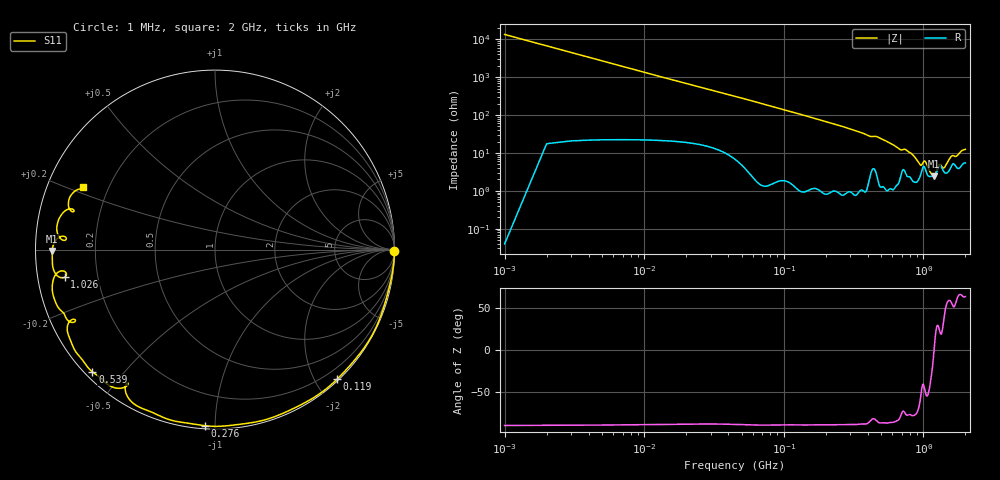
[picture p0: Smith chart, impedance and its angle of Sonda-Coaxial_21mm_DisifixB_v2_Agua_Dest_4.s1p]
! TOUCHSTONE file generated by CST MICROWAVE STUDIO
! Date and time: Tue Aug  4 15:55:27 2026
! Project name: Sonda-Coaxial_21mm_DisifixB_v2_Agua_Dest.cst
! Parameters = {h_recipiente=20; l_conector=5; r_arandela=35; r_ext=10.5; r_int=3; r_recipiente=50; z_recipiente=-30}
! Header version: 2018
! Port assignment regex: !\s*Touchstone port\s*([0-9]+)\s*=\s*(CST MWS port|CST DS port)\s*([0-9]+|Zmin|Zmax)\s*\(\"(.*)\"\)(\s*mode\s*([0-9]+))?.*
! Touchstone port assignment:
! Touchstone port 1 = CST MWS port 1 ("")
# GHz S RI R 50
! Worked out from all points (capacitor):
!   2000 points, 1 MHz to 2 GHz, reference 50 ohm
!   read as one part to ground: C = 11.8 pF near 11 MHz
!   lowest |Z| = 2.42 ohm at 1.185 GHz (marker M1)
!   series resonance near 1.192 GHz, so ESL is about 1.5 nH
!   S11 on the Smith chart (normalised r, x): 1 MHz: open; 119 MHz: 0.03, -2.32; 276 MHz: 0.02, -0.94; 539 MHz: 0.02, -0.41; 1.026 GHz: 0.08, -0.09; 2 GHz: 0.11, +0.22
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0.001  1 -0.00748
0.059  0.9108 -0.4027
0.119  0.6811 -0.721
0.185  0.3613 -0.9196
0.251  0.0524 -0.9829
0.276  -0.0565 -0.9811
0.399  -0.4754 -0.8363
0.428  -0.4948 -0.7497
0.454  -0.4913 -0.7586
0.501  -0.618 -0.7341
0.539  -0.6831 -0.6813
0.626  -0.7937 -0.5341
0.695  -0.8068 -0.3968
0.751  -0.8074 -0.4028
0.903  -0.9067 -0.2235
0.968  -0.8743 -0.126
1.001  -0.8301 -0.129
1.026  -0.8383 -0.1542
1.085  -0.8993 -0.1127
1.185  -0.9079 -0.00784
1.251  -0.8775 0.0622
1.31  -0.8288 0.0642
1.363  -0.8546 0.0561
1.501  -0.8647 0.18
1.628  -0.7862 0.2193
1.751  -0.8169 0.2555
1.863  -0.7752 0.3299
2  -0.7336 0.3491
